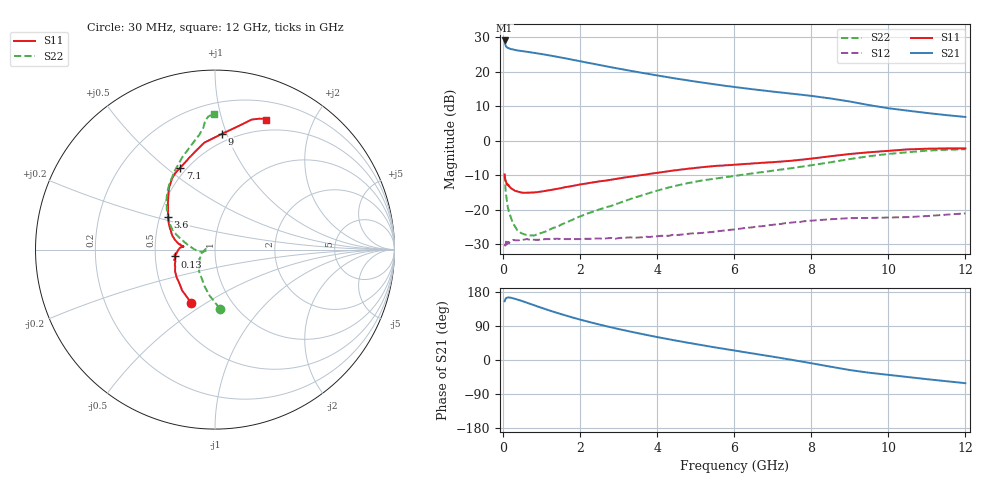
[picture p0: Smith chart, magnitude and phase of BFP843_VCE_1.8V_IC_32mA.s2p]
! Infineon Technologies  Discrete & RF Semiconductors
! BFP843
! VCE =  1.8 V,  IC =  32 mA
! Common Emitter S-Parameters:  Aug 2013
# GHz  S  MA  R  50
!  f  S11  S21  S12  S22
! GHz  MAG  ANG  MAG  ANG  MAG  ANG  MAG  ANG
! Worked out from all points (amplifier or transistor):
!   103 points, 30 MHz to 12 GHz, reference 50 ohm
!   highest |S21| = 29.1 dB at 30 MHz (marker M1)
!   |S21| within 3 dB of that: start of sweep to 429.4 MHz
!   unconditionally stable (mu >= 1): 84.45 MHz to 10.64 GHz
!   at 400 MHz: K = 1.03, MAG = 26.4 dB, |S12| = -28.8 dB
!   at 3.7 GHz: K = 1.35, MAG = 20.1 dB, |S12| = -27.8 dB
!   at 12 GHz: K = 0.86, MSG = 14.0 dB, |S12| = -21.0 dB
!   S11 on the Smith chart (normalised r, x): 30 MHz: 0.65, -0.43; 130 MHz: 0.63, -0.05; 3.6 GHz: 0.55, +0.23; 7.1 GHz: 0.46, +0.56; 9 GHz: 0.43, +0.96; 12 GHz: 0.38, +1.40
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0.03  0.3255 -114.0  28.62 155.1  0.0297 23.7  0.3293 -85.3
0.04  0.2921 -128.8  26.12 157.4  0.0313 20.2  0.2579 -96.8
0.05  0.2727 -137.0  24.84 160.6  0.0306 16.0  0.2127 -105.9
0.07  0.2527 -151.8  23.32 163.1  0.0357 14.8  0.1623 -120.6
0.1  0.2297 -163.8  22.55 164.7  0.0332 11.8  0.12 -136.5
0.13  0.2263 -170.3  22.19 165.2  0.0339 12.7  0.102 -149.0
0.3  0.1887 176.0  20.84 161.5  0.0361 6.8  0.0575 -178.0
0.9  0.1814 173.7  18.52 140.8  0.0367 4.1  0.0447 -179.6
1.2  0.1928 172.7  17.35 130.6  0.0376 4.4  0.0516 -173.0
1.6  0.2126 169.5  15.79 118.0  0.0376 4.6  0.0644 -170.1
2.1  0.2381 164.2  13.91 103.7  0.038 5.9  0.0846 -172.9
2.5  0.259 159.4  12.59 93.4  0.0383 7.1  0.102 -176.9
2.9  0.2792 154.4  11.42 83.8  0.038 8.2  0.1206 177.7
3.6  0.3199 144.8  9.705 68.6  0.04 10.0  0.1622 168.3
4.1  0.3506 138.2  8.696 58.5  0.042 11.4  0.1972 162.7
5  0.4065 129.7  7.242 41.9  0.0456 13.6  0.2565 155.4
6.1  0.4543 122.4  5.951 23.4  0.0529 13.9  0.3158 145.6
7.1  0.4964 113.0  5.109 7.0  0.0618 11.8  0.3764 135.9
8.5  0.599 95.7  4.121 -17.7  0.073 2.2  0.4899 117.6
9  0.6453 86.7  3.722 -26.5  0.0758 -1.8  0.5451 109.6
10.5  0.7525 74.3  2.745 -44.9  0.0784 -9.2  0.6839 95.4
12  0.7785 68.4  2.223 -61.2  0.0888 -15.7  0.7568 90.3
